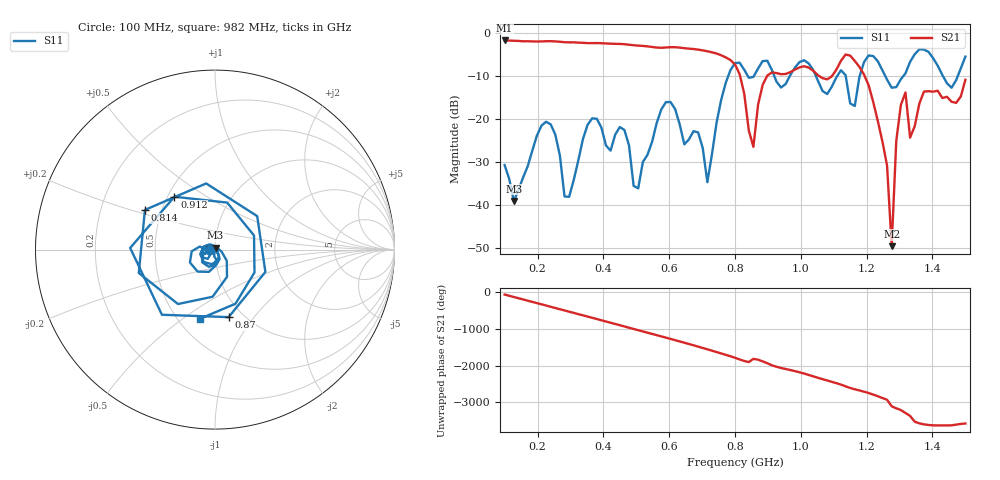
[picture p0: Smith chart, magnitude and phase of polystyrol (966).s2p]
! NanoVNA-App
! Date: 2025-09-25 15:37:24
! Start: 100MHz Stop: 1,5GHz Points: 101
! S-Parameter data: F S11 S21 S12 S22
# Hz S RI R 50
!  Frequency  S11_Real  S11_Imag  S21_Real  S21_Imag  S12_Real  S12_Imag  S22_Real  S22_Imag
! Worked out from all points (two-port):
!   101 points, 100 MHz to 1.5 GHz, reference 50 ohm
!   highest |S21| = -1.80 dB at 100 MHz (marker M1); lowest = -49.5 dB at 1.276 GHz (marker M2)
!   |S21| within 3 dB of the highest: start of sweep to 742.8 MHz
!   lowest |S11| = -39.1 dB at 128 MHz (marker M3), VSWR 1.02, Z = 50.3 + j1.06 ohm
!   |S11| at or under -10 dB: start of sweep to 779.8 MHz; 1.045 GHz to 1.111 GHz (65.65 MHz wide, 6.09 % of centre); 1.256 GHz to 1.312 GHz (56.02 MHz wide, 4.36 % of centre) (the widest 3 of 7)
!   S12 and S22 are empty: the file has one direction only
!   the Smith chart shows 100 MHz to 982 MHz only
!   S11 on the Smith chart (normalised r, x): 100 MHz: 0.94, -0.01; 814 MHz: 0.40, +0.22; 870 MHz: 0.86, -0.76; 912 MHz: 0.54, +0.37; 982 MHz: 0.64, -0.58
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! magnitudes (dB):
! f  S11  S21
! 100 MHz  -30.7  -1.8
! 128 MHz  -39.1  -1.9
! 212 MHz  -21.6  -2.0
! 282 MHz  -38.0  -2.2
! 338 MHz  -24.7  -2.3
! 506 MHz  -36.1  -3.0
! 576 MHz  -17.8  -3.5
! 716 MHz  -34.7  -4.3
! 800 MHz  -7.0  -7.4
! 814 MHz  -7.0  -9.6
! 856 MHz  -10.3  -26.5
! 870 MHz  -8.3  -16.7
! 912 MHz  -8.6  -9.2
! 982 MHz  -8.1  -8.6
! 1.038 GHz  -8.7  -8.8
! 1.192 GHz  -6.8  -9.7
! 1.262 GHz  -10.9  -30.8
! 1.276 GHz  -12.8  -49.5
! 1.29 GHz  -12.6  -25.1
! 1.318 GHz  -9.4  -13.9
! 1.332 GHz  -6.7  -24.3
! 1.5 GHz  -5.6  -10.9
